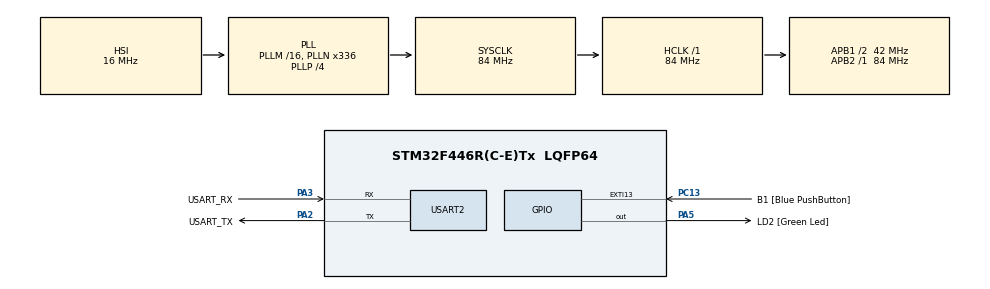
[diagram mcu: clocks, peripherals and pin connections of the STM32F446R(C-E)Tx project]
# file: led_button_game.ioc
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Mcu.Family=STM32F4
Mcu.Name=STM32F446R(C-E)Tx
Mcu.Package=LQFP64
NVIC.EXTI15_10_IRQn=true\:0\:0\:false\:false\:true\:true\:true\:true
NVIC.PriorityGroup=NVIC_PRIORITYGROUP_0
PA13.GPIO_Label=TMS
PA13.Mode=Serial_Wire
PA13.Signal=SYS_JTMS-SWDIO
PA14.GPIO_Label=TCK
PA14.Mode=Serial_Wire
PA14.Signal=SYS_JTCK-SWCLK
PA2.GPIO_Label=USART_TX
PA2.Mode=Asynchronous
PA2.Signal=USART2_TX
PA3.GPIO_Label=USART_RX
PA3.Mode=Asynchronous
PA3.Signal=USART2_RX
PA5.GPIO_Label=LD2 [Green Led]
PA5.Signal=GPIO_Output
PB3.GPIO_Label=SWO
PB3.Signal=SYS_JTDO-SWO
PC13.GPIO_Label=B1 [Blue PushButton]
PC13.GPIO_ModeDefaultEXTI=GPIO_MODE_IT_FALLING
PC13.Signal=GPXTI13
PC14-OSC32_IN.Mode=LSE-External-Oscillator
PC14-OSC32_IN.Signal=RCC_OSC32_IN
PC15-OSC32_OUT.Mode=LSE-External-Oscillator
PC15-OSC32_OUT.Signal=RCC_OSC32_OUT
PH0-OSC_IN.Mode=HSE-External-Oscillator
PH0-OSC_IN.Signal=RCC_OSC_IN
PH1-OSC_OUT.Mode=HSE-External-Oscillator
PH1-OSC_OUT.Signal=RCC_OSC_OUT
ProjectManager.HeapSize=0x200
ProjectManager.StackSize=0x400
ProjectManager.TargetToolchain=STM32CubeIDE
RCC.48MHZClocksFreq_Value=84000000
RCC.AHBFreq_Value=84000000
RCC.APB1CLKDivider=RCC_HCLK_DIV2
RCC.APB1Freq_Value=42000000
RCC.APB1TimFreq_Value=84000000
RCC.APB2Freq_Value=84000000
RCC.APB2TimFreq_Value=84000000
RCC.CortexFreq_Value=84000000
RCC.FLatency-AdvancedSettings=FLASH_LATENCY_2
RCC.HCLKFreq_Value=84000000
RCC.HSE_VALUE=8000000
RCC.HSI_VALUE=16000000
RCC.PLLN=336
RCC.PLLP=RCC_PLLP_DIV4
RCC.SYSCLKFreq_VALUE=84000000
RCC.SYSCLKSource=RCC_SYSCLKSOURCE_PLLCLK
RCC.USBFreq_Value=168000000
RCC.VCOOutputFreq_Value=336000000
USART2.VirtualMode=VM_ASYNC
board=NUCLEO-F446RE

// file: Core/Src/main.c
/* USER CODE BEGIN Header */
/**
  ******************************************************************************
  * @file           : main.c
  * @brief          : Main program body
  ******************************************************************************
  * @attention
  *
  * Copyright (c) 2023 STMicroelectronics.
  * All rights reserved.
  *
  * This software is licensed under terms that can be found in the LICENSE file
  * in the root directory of this software component.
  * If no LICENSE file comes with this software, it is provided AS-IS.
  *
  ******************************************************************************
  */
/* USER CODE END Header */
#include "main.h"
#include <stdbool.h>
#include <stdlib.h>

UART_HandleTypeDef huart2;

void SystemClock_Config(void);
static void MX_GPIO_Init(void);
static void MX_USART2_UART_Init(void);
/* USER CODE BEGIN PFP */
static void LED_ON(void);
static void LED_OFF(void);
//static void LED_TOGGLE(void);
static void LED_WIN_SQUENCE(void);
static void LED_LOSS_SQUENCE(void);
static bool IS_LED_ON(void);

/* USER CODE END PFP */

/* USER CODE BEGIN 0 */
static bool flag = false;

/* USER CODE END 0 */

int main(void)
{

  /* MCU Configuration--------------------------------------------------------*/

  /* Reset of all peripherals, Initializes the Flash interface and the Systick. */
  HAL_Init();

  /* Configure the system clock */
  SystemClock_Config();

  /* Initialize all configured peripherals */
  MX_GPIO_Init();
  MX_USART2_UART_Init();
  /* USER CODE BEGIN 2 */
  LED_OFF();
  int delay_in_ms = 0;
  float game_timeout_in_ms = 1000;
  int previous_time = HAL_GetTick();
  bool game_running = false;
  /* USER CODE END 2 */

  /* Infinite loop */
  /* USER CODE BEGIN WHILE */
  while (1)
  {
	  if (flag)
	  {
		  game_running = false;
		  if (IS_LED_ON())
		  {
			  LED_WIN_SQUENCE();
			  flag = false;
			  game_timeout_in_ms *= 0.8;
//			  LED_OFF();
		  } else
		  {
			  LED_LOSS_SQUENCE();
			  flag = false;
			  game_timeout_in_ms *= 1.25;
//			  LED_ON();
		  }
	  }

	  if (game_running)
	  {
		  if (HAL_GetTick() >= previous_time + delay_in_ms && HAL_GetTick() < previous_time + delay_in_ms + game_timeout_in_ms )
		  {
			  LED_ON();
		  }
		  if (HAL_GetTick() >= previous_time + delay_in_ms + game_timeout_in_ms)
		  {
			  LED_OFF();
			  previous_time = HAL_GetTick();
			  delay_in_ms = 1000 * (rand() % 6);
		  }
	  } else {
		  previous_time = HAL_GetTick();
		  delay_in_ms = 1000 * (rand() % 6);
		  game_running = true;
	  }

//	  LED_ON();
//	  HAL_Delay(3000);
//	  LED_OFF();
//	  HAL_Delay(500);
    /* USER CODE END WHILE */

  }
}

void SystemClock_Config(void)
{
  RCC_OscInitTypeDef RCC_OscInitStruct = {0};
  RCC_ClkInitTypeDef RCC_ClkInitStruct = {0};

  /** Configure the main internal regulator output voltage
  */
  __HAL_RCC_PWR_CLK_ENABLE();
  __HAL_PWR_VOLTAGESCALING_CONFIG(PWR_REGULATOR_VOLTAGE_SCALE3);

  /** Initializes the RCC Oscillators according to the specified parameters
  * in the RCC_OscInitTypeDef structure.
  */
  RCC_OscInitStruct.OscillatorType = RCC_OSCILLATORTYPE_HSI;
  RCC_OscInitStruct.HSIState = RCC_HSI_ON;
  RCC_OscInitStruct.HSICalibrationValue = RCC_HSICALIBRATION_DEFAULT;
  RCC_OscInitStruct.PLL.PLLState = RCC_PLL_ON;
  RCC_OscInitStruct.PLL.PLLSource = RCC_PLLSOURCE_HSI;
  RCC_OscInitStruct.PLL.PLLM = 16;
  RCC_OscInitStruct.PLL.PLLN = 336;
  RCC_OscInitStruct.PLL.PLLP = RCC_PLLP_DIV4;
  RCC_OscInitStruct.PLL.PLLQ = 2;
  RCC_OscInitStruct.PLL.PLLR = 2;
  if (HAL_RCC_OscConfig(&RCC_OscInitStruct) != HAL_OK)
  {
    Error_Handler();
  }

  /** Initializes the CPU, AHB and APB buses clocks
  */
  RCC_ClkInitStruct.ClockType = RCC_CLOCKTYPE_HCLK|RCC_CLOCKTYPE_SYSCLK
                              |RCC_CLOCKTYPE_PCLK1|RCC_CLOCKTYPE_PCLK2;
  RCC_ClkInitStruct.SYSCLKSource = RCC_SYSCLKSOURCE_PLLCLK;
  RCC_ClkInitStruct.AHBCLKDivider = RCC_SYSCLK_DIV1;
  RCC_ClkInitStruct.APB1CLKDivider = RCC_HCLK_DIV2;
  RCC_ClkInitStruct.APB2CLKDivider = RCC_HCLK_DIV1;

  if (HAL_RCC_ClockConfig(&RCC_ClkInitStruct, FLASH_LATENCY_2) != HAL_OK)
  {
    Error_Handler();
  }
}

static void MX_USART2_UART_Init(void)
{

  huart2.Instance = USART2;
  huart2.Init.BaudRate = 115200;
  huart2.Init.WordLength = UART_WORDLENGTH_8B;
  huart2.Init.StopBits = UART_STOPBITS_1;
  huart2.Init.Parity = UART_PARITY_NONE;
  huart2.Init.Mode = UART_MODE_TX_RX;
  huart2.Init.HwFlowCtl = UART_HWCONTROL_NONE;
  huart2.Init.OverSampling = UART_OVERSAMPLING_16;
  if (HAL_UART_Init(&huart2) != HAL_OK)
  {
    Error_Handler();
  }

}

static void MX_GPIO_Init(void)
{
  GPIO_InitTypeDef GPIO_InitStruct = {0};

  /* GPIO Ports Clock Enable */
  __HAL_RCC_GPIOC_CLK_ENABLE();
  __HAL_RCC_GPIOH_CLK_ENABLE();
  __HAL_RCC_GPIOA_CLK_ENABLE();
  __HAL_RCC_GPIOB_CLK_ENABLE();

  /*Configure GPIO pin Output Level */
  HAL_GPIO_WritePin(LD2_GPIO_Port, LD2_Pin, GPIO_PIN_RESET);

  /*Configure GPIO pin : B1_Pin */
  GPIO_InitStruct.Pin = B1_Pin;
  GPIO_InitStruct.Mode = GPIO_MODE_IT_FALLING;
  GPIO_InitStruct.Pull = GPIO_NOPULL;
  HAL_GPIO_Init(B1_GPIO_Port, &GPIO_InitStruct);

  /*Configure GPIO pin : LD2_Pin */
  GPIO_InitStruct.Pin = LD2_Pin;
  GPIO_InitStruct.Mode = GPIO_MODE_OUTPUT_PP;
  GPIO_InitStruct.Pull = GPIO_NOPULL;
  GPIO_InitStruct.Speed = GPIO_SPEED_FREQ_LOW;
  HAL_GPIO_Init(LD2_GPIO_Port, &GPIO_InitStruct);

  /* EXTI interrupt init*/
  HAL_NVIC_SetPriority(EXTI15_10_IRQn, 0, 0);
  HAL_NVIC_EnableIRQ(EXTI15_10_IRQn);

}

/* USER CODE BEGIN 4 */

static void LED_ON(void)
{
	HAL_GPIO_WritePin(GPIOA, GPIO_PIN_5, GPIO_PIN_SET);
}

static void LED_OFF(void)
{
	HAL_GPIO_WritePin(GPIOA, GPIO_PIN_5, GPIO_PIN_RESET);
}

static bool IS_LED_ON(void)
{
	return HAL_GPIO_ReadPin(GPIOA, GPIO_PIN_5);
}

//static void LED_TOGGLE(void)
//{
//	flag = true;
//}

static void LED_WIN_SQUENCE(void)
{
	for (uint8_t i=0; i <= 10; i++){
		LED_ON();
		HAL_Delay(100);
		LED_OFF();
		HAL_Delay(100);
	}
}

static void LED_LOSS_SQUENCE(void)
{
	for (uint8_t i=0; i <= 10; i++){
		LED_ON();
		HAL_Delay(100);
		LED_OFF();
		HAL_Delay(300);
	}
}

void HAL_GPIO_EXTI_Callback(uint16_t GPIO_Pin)
{
	flag = true;
}

/* USER CODE END 4 */

void Error_Handler(void)
{
  __disable_irq();
  while (1)
  {
  }
}
